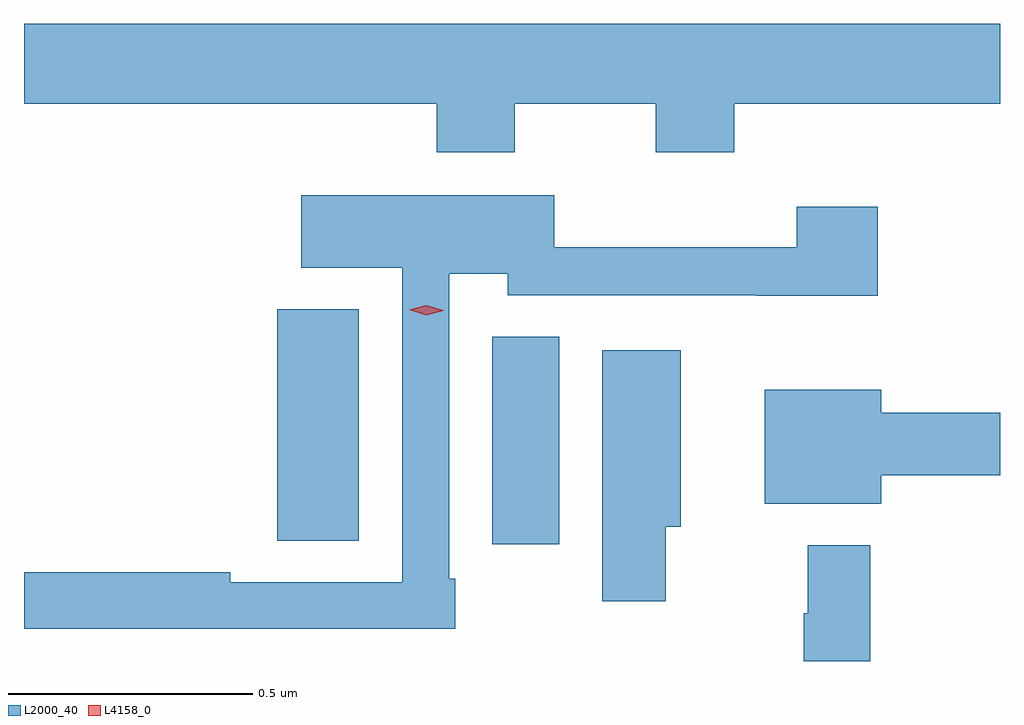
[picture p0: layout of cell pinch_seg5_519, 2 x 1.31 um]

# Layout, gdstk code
import gdstk
lib = gdstk.Library(unit=1e-6, precision=1e-09)
def R(c, l, rs):  # rectangles x0, y0, x1, y1
    for r in rs: c.add(gdstk.rectangle(r[:2], r[2:], *l))
def P(c, l, *ps):  # polygons
    for p in ps: c.add(gdstk.Polygon(p, *l))
L2000_40 = (2000, 40)
L4158_0 = (4158, 0)

pinch_seg5_519 = lib.new_cell('pinch_seg5_519')
R(pinch_seg5_519, L2000_40, [(916.607,847.866,916.744,848.291), (916.166,847.873,916.333,848.347)])
P(pinch_seg5_519, L2000_40, [(916.653,848.768),(916.942,848.768),(916.942,848.669),(917.102,848.669),(917.102,848.768),(917.647,848.768),(917.647,848.932),(915.647,848.932),(915.647,848.768),(916.493,848.768),(916.493,848.669),(916.653,848.669)],
  [(916.531,847.795),(916.518,847.795),(916.518,848.42),(916.638,848.42),(916.638,848.376),(917.147,848.376),(917.147,848.375),(917.396,848.375),(917.396,848.557),(917.231,848.557),(917.231,848.474),(916.734,848.474),(916.734,848.581),(916.215,848.581),(916.215,848.432),(916.422,848.432),(916.422,847.788),(916.07,847.788),(916.07,847.808),(915.647,847.808),(915.647,847.692),(916.531,847.692)],
  [(916.962,847.901),(916.993,847.901),(916.993,848.263),(916.832,848.263),(916.832,847.749),(916.962,847.749)],
  [(917.404,848.007),(917.647,848.007),(917.647,848.135),(917.404,848.135),(917.404,848.182),(917.165,848.182),(917.165,847.949),(917.404,847.949)],
  [(917.381,847.864),(917.253,847.864),(917.253,847.724),(917.245,847.724),(917.245,847.626),(917.381,847.626)])
P(pinch_seg5_519, L4158_0, [(916.471,848.335),(916.436,848.346),(916.436,848.346),(916.436,848.346),(916.471,848.355),(916.506,848.345),(916.506,848.345),(916.506,848.344)])

lib.write_gds('pinch_seg5_519.gds')
